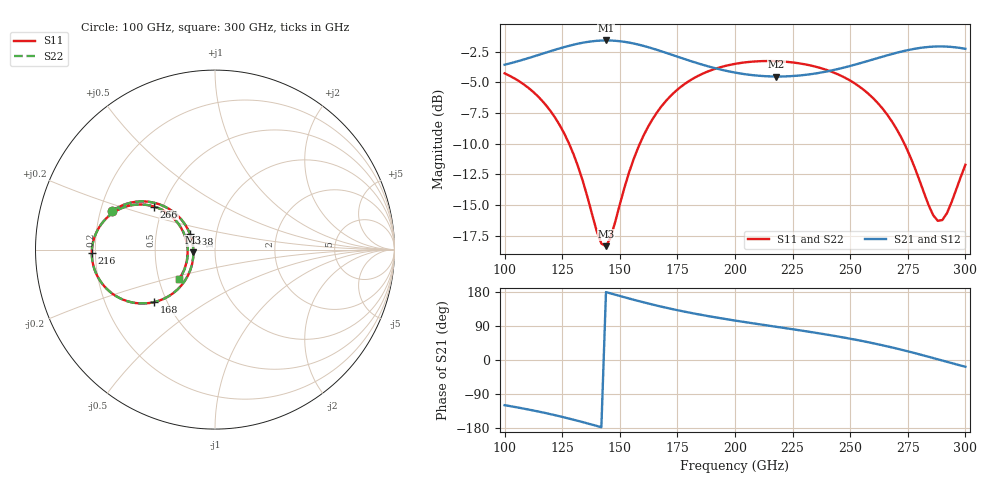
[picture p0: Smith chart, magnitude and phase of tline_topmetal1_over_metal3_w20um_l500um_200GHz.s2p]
#  GHZ S DB R 50
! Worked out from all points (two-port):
!   101 points, 100 GHz to 300 GHz, reference 50 ohm
!   highest |S21| = -1.59 dB at 144 GHz (marker M1); lowest = -4.5 dB at 218 GHz (marker M2)
!   |S21| within 3 dB of the highest: start of sweep to end of sweep
!   lowest |S11| = -18.3 dB at 144 GHz (marker M3), VSWR 1.28, Z = 39.3 - j1.15 ohm
!   |S11| at or under -10 dB: 128 GHz to 158.7 GHz (30.71 GHz wide, 21.4 % of centre); 273.5 GHz to end of sweep
!   |S22| runs from -18.3 to -3.3 dB; largest |S21 - S12| = 1.3e-13
!   S11 on the Smith chart (normalised r, x): 100 GHz: 0.25, +0.17; 138 GHz: 0.75, +0.13; 168 GHz: 0.43, -0.31; 216 GHz: 0.19, -0.01; 266 GHz: 0.45, +0.26; 300 GHz: 0.63, -0.22
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100  -4.27 159.4  -3.56 -119.2  -3.56 -119.2  -4.27 159.4
110  -5.40 150.8  -3.04 -130.3  -3.04 -130.3  -5.40 150.9
120  -7.36 142.5  -2.46 -143.0  -2.46 -143.0  -7.35 142.5
128  -10.00 137.9  -2.02 -154.6  -2.02 -154.6  -10.00 137.9
134  -13.08 139.7  -1.77 -164.1  -1.77 -164.1  -13.08 139.7
138  -15.78 148.5  -1.66 -170.7  -1.66 -170.7  -15.77 148.5
142  -18.14 170.9  -1.60 -177.4  -1.60 -177.4  -18.13 170.9
144  -18.35 -173.2  -1.59 179.2  -1.59 179.2  -18.34 -173.1
158  -10.30 -133.2  -1.92 155.9  -1.92 155.9  -10.30 -133.2
168  -6.97 -139.2  -2.47 140.9  -2.47 140.9  -6.97 -139.2
182  -4.67 -151.5  -3.34 123.0  -3.34 123.0  -4.67 -151.5
200  -3.49 -166.4  -4.20 104.1  -4.20 104.1  -3.49 -166.3
216  -3.26 -178.3  -4.52 89.4  -4.52 89.4  -3.26 -178.3
218  -3.28 -179.7  -4.52 87.6  -4.52 87.6  -3.28 -179.7
234  -3.68 168.6  -4.30 72.8  -4.30 72.8  -3.68 168.6
252  -5.09 154.8  -3.56 53.9  -3.56 53.9  -5.09 154.8
266  -7.61 144.8  -2.80 36.1  -2.80 36.1  -7.62 144.7
268  -8.16 143.8  -2.70 33.3  -2.70 33.3  -8.16 143.7
280  -12.94 147.3  -2.20 15.0  -2.20 15.0  -12.98 147.1
288  -16.28 177.3  -2.08 1.9  -2.08 1.9  -16.35 177.4
292  -15.66 -160.9  -2.09 -4.8  -2.09 -4.8  -15.72 -160.6
300  -11.71 -140.6  -2.27 -17.9  -2.27 -17.9  -11.74 -140.3
